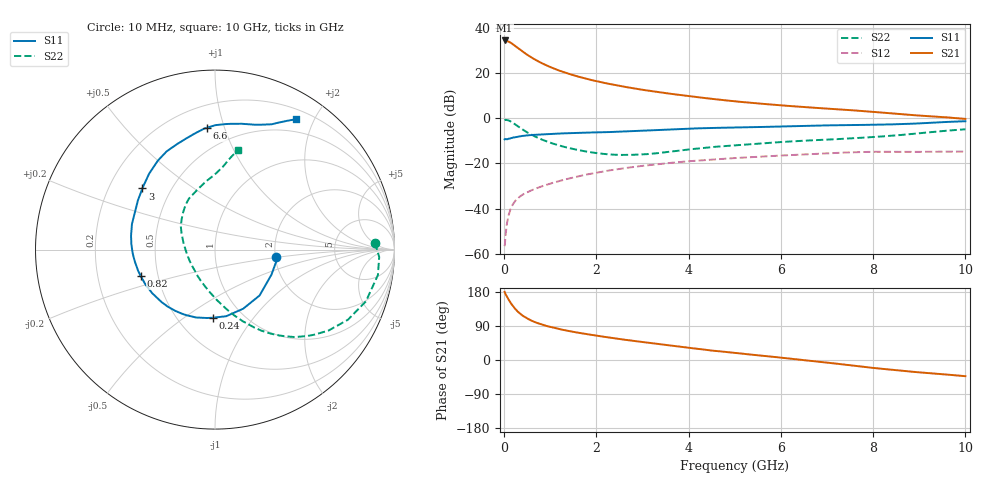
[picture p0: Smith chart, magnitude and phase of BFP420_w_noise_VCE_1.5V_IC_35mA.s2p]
! Infineon Technologies  Discrete & RF Semiconductors
! BFP420
! VCE =  1.5 V,  IC =  35 mA
! Common Emitter S-Parameters:  Jan 2016
# GHz  S  MA  R  50
!  f  S11  S21  S12  S22
! GHz  MAG  ANG  MAG  ANG  MAG  ANG  MAG  ANG
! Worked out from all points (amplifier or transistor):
!   233 points, 10 MHz to 10 GHz, reference 50 ohm
!   highest |S21| = 34.3 dB at 10 MHz (marker M1)
!   |S21| within 3 dB of that: start of sweep to 276.7 MHz
!   unconditionally stable (mu >= 1): start of sweep to 10.3 MHz; 1.359 GHz to end of sweep
!   at 200 MHz: K = 0.35, MSG = 35.1 dB, |S12| = -37.7 dB
!   at 1.74 GHz: K = 1.07, MAG = 19.8 dB, |S12| = -25.1 dB
!   at 10 GHz: K = 1.06, MAG = 5.7 dB, |S12| = -14.7 dB
!   lowest NFmin = 1.64 dB at 900 MHz
!   S11 on the Smith chart (normalised r, x): 10 MHz: 2.01, -0.20; 240 MHz: 0.73, -0.65; 820 MHz: 0.40, -0.15; 3 GHz: 0.34, +0.33; 6.6 GHz: 0.35, +0.87; 10 GHz: 0.32, +1.76
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0.01  0.3416 -7.4  51.8 179.7  0.0015 124.4  0.8922 2.4
0.02  0.3481 -10.5  51.04 176.0  0.0019 91.4  0.9158 -2.6
0.05  0.3442 -23.7  50.66 169.4  0.004 86.0  0.9186 -8.9
0.1  0.3565 -45.8  48.86 158.7  0.0074 77.7  0.889 -18.9
0.15  0.3649 -64.5  45.7 149.0  0.0105 72.7  0.8374 -27.8
0.2  0.3763 -80.4  42.17 140.6  0.0131 68.2  0.7775 -35.4
0.24  0.3798 -91.6  39.16 134.9  0.0149 65.5  0.7286 -40.6
0.34  0.3982 -113.1  32.76 122.9  0.0186 61.1  0.6181 -51.3
0.4  0.4067 -122.7  29.48 117.1  0.0205 59.8  0.5623 -56.4
0.46  0.4132 -130.8  26.67 112.4  0.0222 58.7  0.5142 -60.7
0.6  0.4258 -145.1  21.52 103.4  0.0258 57.8  0.4264 -69.0
0.82  0.4393 -160.3  16.25 93.5  0.0314 57.7  0.3367 -79.2
1.2  0.459 -177.2  11.16 81.4  0.0412 57.5  0.2483 -94.9
1.68  0.4766 168.4  7.883 70.5  0.0542 55.6  0.1915 -114.1
2.2  0.4908 155.9  5.912 60.6  0.0682 52.0  0.1612 -136.1
3  0.5294 139.9  4.225 47.4  0.0887 45.0  0.1587 -171.9
3.4  0.553 132.6  3.689 41.4  0.0982 41.0  0.1725 172.8
5.1  0.6244 109.9  2.302 17.5  0.1334 24.5  0.2555 136.1
6.6  0.68 93.9  1.73 -1.6  0.1605 10.4  0.3223 115.6
6.8  0.6862 91.9  1.676 -4.2  0.1642 8.3  0.3287 112.8
8.4  0.7291 72.7  1.275 -25.9  0.181 -9.9  0.4091 91.8
10  0.8566 58.0  0.962 -42.7  0.1835 -22.2  0.5685 77.0
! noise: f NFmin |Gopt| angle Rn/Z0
0.9  1.64  0.3  -155  0.13
1.8  1.9  0.37  -142  0.15
2.4  2.1  0.34  -134  0.19
3  2.11  0.4  -126  0.22
4  2.25  0.5  -110  0.35
5  2.73  0.54  -94  0.59
6  3.16  0.59  -82  0.84
